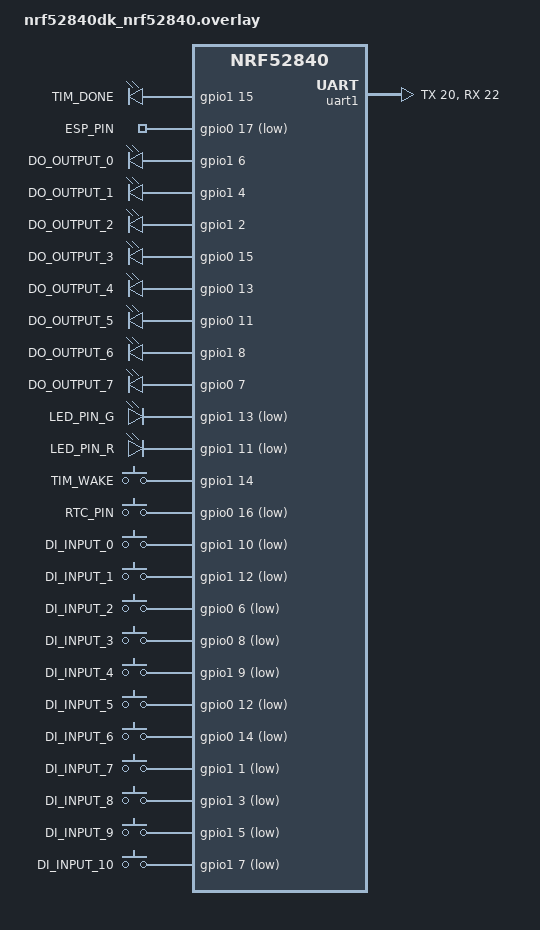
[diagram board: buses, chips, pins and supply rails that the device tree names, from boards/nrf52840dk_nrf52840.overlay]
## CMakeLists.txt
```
#
# Copyright (c) 2018 Nordic Semiconductor
#
# SPDX-License-Identifier: LicenseRef-Nordic-5-Clause
#
cmake_minimum_required(VERSION 3.13.1)

find_package(Zephyr REQUIRED HINTS $ENV{ZEPHYR_BASE})

project(recloser)

FILE(GLOB app_sources src/*.c)
target_sources(app PRIVATE ${app_sources})

zephyr_library_include_directories(${CMAKE_CURRENT_SOURCE_DIR})
```

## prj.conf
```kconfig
##########################################
# Enable the UART driver
CONFIG_UART_ASYNC_API=y
CONFIG_UART_1_ASYNC=y
CONFIG_UART_1_INTERRUPT_DRIVEN=n
CONFIG_UART_1_NRF_HW_ASYNC=y
CONFIG_UART_1_NRF_HW_ASYNC_TIMER=2
CONFIG_NRFX_TIMER2=y
CONFIG_CONSOLE=n

# Lib supports
CONFIG_NEWLIB_LIBC=y
CONFIG_CPLUSPLUS=y
CONFIG_LIB_CPLUSPLUS=y

# GPIO config
CONFIG_GPIO=y
CONFIG_NFCT_PINS_AS_GPIOS=y

# WDT
CONFIG_WATCHDOG=y
CONFIG_WDT_DISABLE_AT_BOOT=n
CONFIG_TASK_WDT=y
CONFIG_TASK_WDT_MIN_TIMEOUT=2000

# Enable the BLE stack with GATT Client configuration
CONFIG_BT=y
#CONFIG_BT_DEBUG_LOG=y
#CONFIG_BT_LOG_LEVEL_DBG=y
CONFIG_HEAP_MEM_POOL_SIZE=2048
CONFIG_BT_SETTINGS=y
CONFIG_FLASH=y
CONFIG_FLASH_PAGE_LAYOUT=y
CONFIG_FLASH_MAP=y
CONFIG_SETTINGS=y

CONFIG_SETTINGS_NONE=y
CONFIG_BT_GATT_CACHING=n
CONFIG_BT_GATT_CLIENT=y

# Config logger
CONFIG_LOG=y
CONFIG_USE_SEGGER_RTT=y
CONFIG_LOG_BACKEND_RTT=y
CONFIG_LOG_BACKEND_UART=n
CONFIG_ASSERT=n

#PERIPHERAL
CONFIG_BT_USER_PHY_UPDATE=y
CONFIG_BT_CTLR_TX_PWR_PLUS_8=y
CONFIG_BT_CREATE_CONN_TIMEOUT=3
CONFIG_BT_ATT_PREPARE_COUNT=18
CONFIG_BT_MAX_CONN=18
CONFIG_BT_CTLR_ADV_DATA_LEN_MAX=247
CONFIG_BT_CTLR_ADVANCED_FEATURES=y
CONFIG_BT_CTLR_TX_PWR_DYNAMIC_CONTROL=n
CONFIG_BT_CTLR_CONN_RSSI=y
CONFIG_BT_LL_SW_SPLIT=y
CONFIG_BT_CTLR=y
CONFIG_BT_HCI=y
CONFIG_BT_PERIPHERAL=y
CONFIG_BT_DEVICE_NAME="RECLOSER"
CONFIG_BT_GATT_NOTIFY_MULTIPLE=y
CONFIG_BT_GAP_PERIPHERAL_PREF_PARAMS=n
CONFIG_BT_L2CAP_TX_MTU=259
CONFIG_BT_BUF_ACL_RX_SIZE=259
CONFIG_MAIN_STACK_SIZE=8192

#CLOCK_CONTROL
CONFIG_CLOCK_CONTROL=y
CONFIG_CLOCK_CONTROL_NRF_K32SRC_RC=y
CONFIG_CLOCK_CONTROL_NRF_K32SRC_XTAL=n

#CONFIG_BT_CTLR_XTAL_ADVANCED=y
CONFIG_NRFX_TIMER=y
CONFIG_NRFX_TIMER3=y
CONFIG_NRFX_TIMER4=y
CONFIG_NRFX_SAADC=y
CONFIG_BOARD_ENABLE_DCDC=n
CONFIG_NRFX_PPI=y

### Enable SMP server ###
# FOR NCS auto make image
CONFIG_BT_SMP=y
CONFIG_MCUMGR_SMP_BT=y
CONFIG_MCUMGR_SMP_BT_AUTHEN=n
CONFIG_MCUMGR_CMD_IMG_MGMT=y
CONFIG_MCUMGR_CMD_OS_MGMT=y
CONFIG_MCUMGR=y
CONFIG_SYSTEM_WORKQUEUE_STACK_SIZE=8192
CONFIG_BOOTLOADER_MCUBOOT=y
CONFIG_MCUBOOT_IMAGE_VERSION="1.5.2"

#Useless
#CONFIG_MCUMGR_CMD_FS_MGMT=y
#CONFIG_MCUBOOT_UTIL_LOG_LEVEL_WRN=y
#CONFIG_FILE_SYSTEM=y
```

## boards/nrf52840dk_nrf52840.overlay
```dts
/ {
	leds {
		compatible = "gpio-leds";
		led0: led_0 {
			gpios = <&gpio1 15 GPIO_ACTIVE_HIGH>;
			label = "TIM_DONE";
		};
		led1: led_1 {
			gpios = <&gpio0 17 (GPIO_ACTIVE_LOW | GPIO_PULL_UP | GPIO_OPEN_DRAIN)>;
			label = "ESP_PIN";
		};
		led2: led_2 {
			gpios = <&gpio1 6 GPIO_ACTIVE_HIGH>;
			label = "DO_OUTPUT_0";
		};
		led3: led_3 {
			gpios = <&gpio1 4 GPIO_ACTIVE_HIGH>;
			label = "DO_OUTPUT_1";
		};
		led4: led_4 {
			gpios = <&gpio1 2 GPIO_ACTIVE_HIGH>;
			label = "DO_OUTPUT_2";
		};
		led5: led_5 {
			gpios = <&gpio0 15 GPIO_ACTIVE_HIGH>;
			label = "DO_OUTPUT_3";
		};
		led6: led_6 {
			gpios = <&gpio0 13 GPIO_ACTIVE_HIGH>;
			label = "DO_OUTPUT_4";
		};
		led7: led_7 {
			gpios = <&gpio0 11 GPIO_ACTIVE_HIGH>;
			label = "DO_OUTPUT_5";
		};
		led8: led_8 {
			gpios = <&gpio1 8 GPIO_ACTIVE_HIGH>;
			label = "DO_OUTPUT_6";
		};
		led9: led_9 {
			gpios = <&gpio0 7 GPIO_ACTIVE_HIGH>;
			label = "DO_OUTPUT_7";
		};
		led10: led_10 {
			gpios = <&gpio1 13 GPIO_ACTIVE_LOW>;
			label = "LED_PIN_G";
		};
		led11: led_11 {
			gpios = <&gpio1 11 GPIO_ACTIVE_LOW>;
			label = "LED_PIN_R";
		};
        };

	buttons {
		compatible = "gpio-keys";
		button0: button_0 {
			gpios = <&gpio1 14 (GPIO_PULL_DOWN | GPIO_ACTIVE_HIGH)>;
			label = "TIM_WAKE";
		};
		button1: button_1 {
			gpios = <&gpio0 16 (GPIO_PULL_UP | GPIO_ACTIVE_LOW)>;
			label = "RTC_PIN";
		};
		button2: button_2 {
			gpios = <&gpio1 10 (GPIO_PULL_UP | GPIO_ACTIVE_LOW)>;
			label = "DI_INPUT_0";
		};
		button3: button_3 {
			gpios = <&gpio1 12 (GPIO_PULL_UP | GPIO_ACTIVE_LOW)>;
			label = "DI_INPUT_1";
		};
		button4: button_4 {
			gpios = <&gpio0 6 (GPIO_PULL_UP | GPIO_ACTIVE_LOW)>;
			label = "DI_INPUT_2";
		};
		button5: button_5 {
			gpios = <&gpio0 8 (GPIO_PULL_UP | GPIO_ACTIVE_LOW)>;
			label = "DI_INPUT_3";
		};
		button6: button_6 {
			gpios = <&gpio1 9 (GPIO_PULL_UP | GPIO_ACTIVE_LOW)>;
			label = "DI_INPUT_4";
		};
		button7: button_7 {
			gpios = <&gpio0 12 (GPIO_PULL_UP | GPIO_ACTIVE_LOW)>;
			label = "DI_INPUT_5";
		};
		button8: button_8 {
			gpios = <&gpio0 14 (GPIO_PULL_UP | GPIO_ACTIVE_LOW)>;
			label = "DI_INPUT_6";
		};
		button9: button_9 {
			gpios = <&gpio1 1 (GPIO_PULL_UP | GPIO_ACTIVE_LOW)>;
			label = "DI_INPUT_7";
		};
		button10: button_10 {
			gpios = <&gpio1 3 (GPIO_PULL_UP | GPIO_ACTIVE_LOW)>;
			label = "DI_INPUT_8";
		};
		button11: button_11 {
			gpios = <&gpio1 5 (GPIO_PULL_UP | GPIO_ACTIVE_LOW)>;
			label = "DI_INPUT_9";
		};
		button12: button_12 {
			gpios = <&gpio1 7 (GPIO_PULL_UP | GPIO_ACTIVE_LOW)>;
			label = "DI_INPUT_10";
		};
	};

	/* These aliases are provided for compatibility with samples */
	aliases {
		led0 = &led0;
		led1 = &led1;
		led2 = &led2;
		led3 = &led3;
		led4 = &led4;
		led5 = &led5;
		led6 = &led6;
		led7 = &led7;
		led8 = &led8;
		led9 = &led9;
		led10 = &led10;
		led11 = &led11;

		sw0 = &button0;
		sw1 = &button1;
		sw2 = &button2;
		sw3 = &button3;
		sw4 = &button4;
		sw5 = &button5;
		sw6 = &button6;
		sw7 = &button7;
		sw8 = &button8;
		sw9 = &button9;
		sw10 = &button10;
		sw11 = &button11;
		sw12 = &button12;
	};
};

&uart1 {
	rx-pin = <22>;
	tx-pin = <20>;
	status = "okay";
	/delete-property/ rts-pin;
	/delete-property/ cts-pin;
};

&uart0 {
	status = "disabled";
};

&i2c0 {
	status = "disabled";
};

&i2c1 {
	status = "disabled";
};

&spi0 {
	status = "disabled";
};

&spi1 {
	status = "disabled";
};

&spi2 {
	status = "disabled";
};

&qspi {
	status = "disabled";
};

&spi3 {
	status = "disabled";
};

&usbd {
	compatible = "nordic,nrf-usbd";
	status = "disabled";
};
```

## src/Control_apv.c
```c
/*
 * Copyright (c) 2016 Open-RnD Sp. z o.o.
 * Copyright (c) 2020 Nordic Semiconductor ASA
 *
 * SPDX-License-Identifier: Apache-2.0
 */

#include "control_apv.h"
#include "registers_modbus.h"
#include "DEFINES.h"
#include "calculations.h"

#include <logging/log.h>
#include <zephyr.h>

LOG_MODULE_REGISTER(control_apv);

static int16_t *modbus_reg_04;
static int16_t *modbus_reg_03;

uint8_t apv_current_number;
uint8_t apv_cycle_done;
uint8_t apv_cycle_current;
uint8_t apv_enabled[4];
uint8_t apv_global_ready_done;
uint8_t ready_done;
uint8_t emergency_disable;
static uint8_t *main_window_updater;
uint8_t apv_zmn_start;


void reset_apv_seq()
{      LOG_INF_GLOB("reset_apv_seq");
    if(readBit(modbus_reg_03[mod_reg_03_system_mode], radio_on_apv1)) apv_enabled[1] = 1;
    else apv_enabled[1] = 0;
    if(readBit(modbus_reg_03[mod_reg_03_system_mode], radio_on_apv2)) apv_enabled[2] = 1;
    else apv_enabled[2] = 0;
    if(readBit(modbus_reg_03[mod_reg_03_system_mode], radio_on_apv3)) apv_enabled[3] = 1;
    else apv_enabled[3] = 0;
    modbus_reg_04[mod_reg_04_apv_cycle] = 0;
    *main_window_updater = 2;
}

static void part_init()
{
    LOG_INF_GLOB("part_init");
    stop_timers_apv();
    apv_current_number = 0;
    apv_cycle_done = 0;
    apv_global_ready_done = 0;
    apv_cycle_current = 0;
    ready_done = 0;
    emergency_disable = 0;
    apv_enabled[0] = 1;
    modbus_reg_04[mod_reg_04_apv_ready] = 0;
    apv_zmn_start = 0;
}

void emergency_disable_apv()
{
    if(!emergency_disable) 
    {  LOG_INF_GLOB("emergency_disable_apv()");
        stop_timers_apv();
        if(modbus_reg_04[mod_reg_04_apv_cycle] == 0) part_init();
        emergency_disable = 1;
    }
}

void apv_end_for_ready()
{
    switch(apv_current_number)
    {
        case 255:
            LOG_INF_GLOB("APV_time_ready end");
            apv_global_ready_done = 1;
            writebit(modbus_reg_04[mod_reg_04_apv_ready], radio_ready_apv, 1);
            *main_window_updater = 2;
            ready_done = 255;
        break;
        case 1:
        case 2:
        case 3:
            LOG_INF_GLOB("APV_time_ready end %d", apv_current_number);
            ready_done = 1;
            apv_cycle_current = 0;
            apv_enabled[0] = 0x81;
            reset_apv_seq();
        break;
    }
}

K_TIMER_DEFINE(k_timer_apv_start_for_ready, apv_end_for_ready, NULL);

uint8_t apv_ready()
{
    return ready_done;
}

uint8_t apv_cycle()
{
    return apv_cycle_done;
}

uint8_t apv_init_ready()
{
    return apv_global_ready_done;
}

uint8_t apv_cycle_current_global()
{
    return apv_cycle_current;
}

void apv_end_for_cycle()
{
    LOG_INF_GLOB("k_timer_apv_start_for_cycle %d", apv_current_number);
    apv_cycle_done = apv_current_number;
    apv_current_number = 0;
}

K_TIMER_DEFINE(k_timer_apv_start_for_cycle, apv_end_for_cycle, NULL);

uint8_t apv_exist_cycle_search(uint8_t cur_cyc)
{
    switch(cur_cyc)
    {
        case 0:
            if(readBit(modbus_reg_03[mod_reg_03_system_mode], radio_on_apv1)) return 1;
        case 1:
            if(readBit(modbus_reg_03[mod_reg_03_system_mode], radio_on_apv2)) return 2;
        case 2:
            if(readBit(modbus_reg_03[mod_reg_03_system_mode], radio_on_apv3)) return 3;
            else return 4;
        break;
        default:
            return 4;
        break;
    }
}

uint8_t apv_start_for_cycle()
{
    k_timer_stop(&k_timer_apv_start_for_ready);
    for(uint8_t i = 0; i < 3; i++)
    {
        if(apv_enabled[i] > 0x80) 
        {
            apv_enabled[i] = 0; 
            apv_cycle_current = apv_exist_cycle_search(i);
            if(apv_cycle_current == 4) 
            {
                LOG_INF_GLOB("no exist %d ", i);
                apv_global_ready_done = 0;
                return 1;
            }
            apv_current_number = apv_cycle_current;
            modbus_reg_04[mod_reg_04_apv_cycle] = apv_current_number;
            k_timer_start(&k_timer_apv_start_for_cycle, 
                          K_SECONDS(modbus_reg_04[mod_reg_04_APV_time_ready + apv_cycle_current]), 
                          K_NO_WAIT);
            LOG_INF_GLOB("APV_time_cycle start %d", apv_cycle_current);
            return 0;
        }
    }
    return 1;
}

void apv_zmn_reset()
{
    apv_zmn_start = 0;
}

uint8_t apv_zmn_start_event()
{
    return apv_zmn_start;
}

void apv_zmn_back()
{
    LOG_INF_GLOB("apv_zmn_back()");
    writebit(modbus_reg_04[mod_reg_04_apv_ready], radio_apv_zmn_active, 0);
    apv_zmn_start = 1;
}

K_TIMER_DEFINE(k_timer_apv_zmn_await, apv_zmn_back, NULL);

void apv_zmn_await_stop()
{
    if(k_timer_remaining_ticks(&k_timer_apv_zmn_await) != 0) 
    {
        k_timer_stop(&k_timer_apv_zmn_await);
        LOG_INF_GLOB("apv_zmn_await_stop()");
    }
}

void apv_zmn_await()
{
    if(k_timer_remaining_ticks(&k_timer_apv_zmn_await) == 0 && readBit(modbus_reg_04[mod_reg_04_apv_ready], radio_apv_zmn_active)) 
    {
        LOG_INF_GLOB("apv_zmn_await()");
        k_timer_start(&k_timer_apv_zmn_await, K_SECONDS(modbus_reg_04[mod_reg_04_APV_ZMN_time_back]), K_NO_WAIT);
    }
}

void apv_zmn_end_for_ready()
{
    LOG_INF_GLOB("APV_ZMN_ ready");
    writebit(modbus_reg_04[mod_reg_04_apv_ready], radio_ready_apv_zmn, 1);
    *main_window_updater = 2;
}

uint8_t apv_zmn_init_ready()
{
    return readBit(modbus_reg_04[mod_reg_04_apv_ready], radio_ready_apv_zmn);
}

K_TIMER_DEFINE(k_timer_apv_zmn_start_for_ready, apv_zmn_end_for_ready, NULL);

void stop_timers_apv()
{
    k_timer_stop(&k_timer_apv_start_for_ready);
    k_timer_stop(&k_timer_apv_start_for_cycle);
    k_timer_stop(&k_timer_apv_zmn_start_for_ready);
    k_timer_stop(&k_timer_apv_zmn_await);
}

void apv_init(int16_t *_modbus_reg_03, int16_t *_modbus_reg_04, uint8_t *_main_window_updater)
{
        LOG_INF_GLOB("apv_init");
        main_window_updater = _main_window_updater;
        modbus_reg_03 = _modbus_reg_03;
        modbus_reg_04 = _modbus_reg_04;
        part_init();
}

void apv_start_for_ready()
{
    if(((modbus_reg_03[mod_reg_03_system_mode] >> radio_on_apv1) & 7) != 0)
    {
        if(apv_current_number == 0)
        {
            emergency_disable = 0;
            apv_cycle_done = 0;
            if(apv_enabled[0] != 0 && apv_enabled[0] < 0x81) 
            {
                reset_apv_seq();
                apv_enabled[0] = apv_enabled[0] | 0x80;
                apv_current_number = 255;
                k_timer_start(&k_timer_apv_start_for_ready, K_SECONDS(modbus_reg_04[mod_reg_04_APV_time_ready]), K_NO_WAIT);
                LOG_INF_GLOB("APV_time_ready start");
            }
            else
                for(uint8_t i = 1; i < 4; i++)
                if(apv_enabled[i] != 0 && apv_enabled[i] < 0x81) 
                {
                    apv_enabled[i] = apv_enabled[i] | 0x80;
                    apv_current_number = i;
                    k_timer_start(&k_timer_apv_start_for_ready, K_SECONDS(modbus_reg_04[mod_reg_04_APV_time_ready]), K_NO_WAIT);
                    LOG_INF_GLOB("APV_time_ready start %d", i);
                    return;
                }
        }
    }
    if(readBit(modbus_reg_03[mod_reg_03_system_mode], radio_apv_zmn) &&
       k_timer_remaining_ticks(&k_timer_apv_zmn_start_for_ready) == 0)
    {
        LOG_INF_GLOB("APV_ZMN_time_ready start");
        k_timer_start(&k_timer_apv_zmn_start_for_ready, K_SECONDS(modbus_reg_04[mod_reg_04_APV_ZMN_time_ready]), K_NO_WAIT);
    }
}
```

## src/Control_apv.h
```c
#ifndef APV_LOGIC_H__
#define APV_LOGIC_H__

#include <stdint.h>
#include <inttypes.h>


void apv_init(int16_t *_modbus_reg_03, int16_t *_modbus_reg_04, uint8_t *_main_window_updater);
void apv_start_for_ready();
uint8_t apv_ready();
uint8_t apv_start_for_cycle();
uint8_t apv_cycle();
void stop_timers_apv();
void emergency_disable_apv();
uint8_t apv_init_ready();
uint8_t apv_cycle_current_global();

void apv_zmn_await();
void apv_zmn_await_stop();
uint8_t apv_zmn_start_event();
void apv_zmn_reset();
uint8_t apv_zmn_init_ready();

#endif
```

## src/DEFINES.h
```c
#ifndef DEFINES_H__
#define DEFINES_H__
/*NRF FW version*/

/*RTC PIN*/
#define RTC_PIN                         16

/*ESP8266 RESET PIN*/
#define ESP_PIN                         17

/*TPL5010 PINS*/
#define TIM_WAKE                        46
#define TIM_DONE                        47

#define switch_di_tic                   50

/**/

#define byte_num                                  LEN * ADC_CHANNELS_TO_SEND + 2 * ADC_CHANNELS_TO_SEND + 2
#define max_32_bit_val                            0x7fffffff
//#define us_ticker                                 1003
#define timer2_ms                                 1000 //TIMER_2 ms
#define ms_to_tic(time, period)                   (time * 1000 / period)
#define ESP_PACK_INTERVEL_ms                      150
//#define MANUAL_ADC

//#define tag_irq_high_time       ms_to_tic(200,  timer2_ms)
//#define tag_irq_low_time        ms_to_tic(2000, timer2_ms)
//#define timers_control_time     ms_to_tic(1000, timer2_ms)

//#define di_asq_period           ms_to_tic(100,  timer2_ms) 
#define max_zero_val_counter    100        // êîëè÷åñòâî òî÷åê äëÿ âû÷èñëåíèÿ íóëÿ èçìåðåíèÿ
#define zero_cutt_off_val       400         // îòñå÷êà íóëÿ


    #define mod_reg_03_default_cal_100_adc_cur_phase       5700//2561
    #define mod_reg_03_default_cal_100_adc_cur_3I0         5700//9962
    #define mod_reg_03_default_cal_100_adc_volt            5700//1675


    #define mod_reg_03_default_cal_0_adc_cur_phase         8192//7970
    #define mod_reg_03_default_cal_0_adc_cur_3I0           8192//9296
    #define mod_reg_03_default_cal_0_adc_volt              8192//7945

    #define mod_reg_03_default_cal_cur_phase_scale         2000              // 20  ÀÌÏÅÐ
    #define mod_reg_03_default_cal_cur_3I0_scale           500               // 5  ÀÌÏÅÐ
    #define mod_reg_03_default_cal_voltage_scale           3000              // 300 ÂÎËÜÒ
    #define mod_reg_03_default_cal_voltage_x_scale         3000              // 300 ÂÎËÜÒ

    #define mod_reg_03_default_cal_cur_scale_coef             50              
    #define mod_reg_03_default_cal_cur_3I0_scale_coef         20               
    #define mod_reg_03_default_cal_voltage_scale_coef         30             
    #define mod_reg_03_default_cal_voltage_x_scale_coef       30            

    #define mod_reg_03_MTZ_1_current_trip_default          140              
    #define mod_reg_03_MTZ_2_current_trip_default          140              
    #define mod_reg_03_MTZ_3_current_trip_default          360            
    #define mod_reg_03_TO_current_trip_default             400             
    #define mod_reg_03_ZMN_voltage_trip_default            4500             
    #define mod_reg_03_ZZ_current_trip_default             50             

    #define mod_reg_03_MTZ_1_current_back_default          1350             
    #define mod_reg_03_MTZ_2_current_back_default          1350              
    #define mod_reg_03_MTZ_3_current_back_default          3550             
    #define mod_reg_03_TO_current_back_default             3950               
    #define mod_reg_03_ZMN_voltage_back_default            4600              
    #define mod_reg_03_ZZ_current_back_default             45     
    
    #define mod_reg_03_APV_time_ready_default              5
    #define mod_reg_03_APV1_time_cycle_default             2    
    #define mod_reg_03_APV2_time_cycle_default             10    
    #define mod_reg_03_APV3_time_cycle_default             20   
    #define mod_reg_03_APV_ZMN_time_ready_default          10       
    #define mod_reg_03_APV_ZMN_time_back_default           15       

    #define mod_reg_03_MTZ_1_time_trip_default             10 // 10 ñ
    #define mod_reg_03_MTZ_2_time_trip_default             10 // 10 ñ
    #define mod_reg_03_MTZ_3_time_trip_default             ms_to_tic(1000,  timer2_ms) // 300 ìñ
    #define mod_reg_03_TO_time_trip_default                ms_to_tic(1000,  timer2_ms) // 500 ìñ
    #define mod_reg_03_ZMN_time_trip_default               ms_to_tic(1000,  timer2_ms) // 300 ìñ
    #define mod_reg_03_ZZ_time_trip_default                10 // 10 ñ

    #define mod_reg_03_MTZ_1_time_back_default             2 // 2 ñ
    #define mod_reg_03_MTZ_2_time_back_default             2 // 2 ñ
    #define mod_reg_03_MTZ_3_time_back_default             ms_to_tic(1000,  timer2_ms) // 500 ìñ
    #define mod_reg_03_TO_time_back_default                ms_to_tic(1000,  timer2_ms) // 500 ìñ
    #define mod_reg_03_ZMN_time_back_default               ms_to_tic(1000,  timer2_ms) // 500 ìñ
    #define mod_reg_03_ZZ_time_back_default                2 // 2 ñ

    #define mod_reg_03_trip_action_default                 0

    #define mod_reg_03_reserv                              0 //((1 << 12) + (4 << 8) + (2 << 4) + 3)
    #define mod_reg_03_switch_toggle_time_default          300
    #define mod_reg_03_switch_strategy_default             2

    #define mod_reg_03_voltage_trans_strategy_default      0x87

    /*protection events*/

    #define protection_MTZ_1                                   0
    #define protection_MTZ_2                                   1 
    #define protection_MTZ_3                                   2
    #define protection_TO                                      3
    #define protection_ZMN                                     4
    #define protection_ZZ                                      5

    #define protection_alarm                                   0
    #define protection_back_value                              1
    #define protection_back_timer                              2
    #define protection_trip                                    3


/*DI/DO defines*/

#define     DO_COIL_START           1
#define     DO_COIL_STOP            2
#define     DO_LOAD220_1            3
#define     DO_LOAD220_2            4
#define     DO_MOTOR                5
#define     DO_LAMP_OFF             6
#define     DO_LAMP_ON_ALARM        7
#define     DO_BATTERY              8
#define     DO_LED_1                9
#define     DO_LED_2                10

#define     DI_SAC                  1
#define     DI_SQ1                  2
#define     DI_GENERAL_OFF          3
#define     DI_GENERAL_ON           4
#define     DI_SQY                  5
#define     DI_SBT                  6
#define     DI_SBO                  7
#define     DI_SBR                  8
#define     DI_BATERY               9
#define     DI_START_COIL_HEALTH    10
#define     DI_STOP_COIL_HEALTH     11

#endif

#define LOG_INF_GLOB(...) NULL//LOG_INF(__VA_ARGS__)
#define LOG_WRN_GLOB(...) NULL//LOG_WRN(__VA_ARGS__)
#define LOG_ERR_GLOB(...) NULL//LOG_ERR(__VA_ARGS__)

#define IntToBytes(x)     x >> 8, x & 255
#define BytesToInt(x, y)  (x[y] << 8) + x[y + 1]
```

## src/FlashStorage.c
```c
#include "FlashStorage.h"
#include "registers_modbus.h"
#include "DEFINES.h"
#include "saadc_work.h"

#include <drivers/flash.h>
#include <logging/log.h>

LOG_MODULE_REGISTER(FlashStorage);

#define BYTE_NUM_WRITE     mod_reg_03_num * 2
#define BYTE4_NUM_WRITE    mod_reg_03_num / 2

static const struct device *flash_device;
static int16_t *modbus_reg_03;

void FlashStorageWrite(int16_t *reg_03)
{
    int ret;

    ret = flash_erase(flash_device, start_address_flash, count_bytes_flash);
    if (ret) LOG_INF_GLOB("flash_erase failed (err:%d).\n", ret);
    else LOG_INF_GLOB("%d flash_erase ok (err:%d).\n", start_address_flash, ret);
	
    uint16_t len = BYTE_NUM_WRITE;

    static uint8_t bytes_to_flash[BYTE_NUM_WRITE] = {0};
    if(*(reg_03 + mod_reg_03_crc) != 12345) *(reg_03 + mod_reg_03_crc) = 32100;

    for(uint16_t i = 0; i < mod_reg_03_num; i++)
    {
        bytes_to_flash[i * 2]     = *(reg_03 + i) & 255;
        bytes_to_flash[i * 2 + 1] = *(reg_03 + i) >>  8;
    }
        
    ret = flash_write(flash_device, start_address_flash, bytes_to_flash, len);
    if (ret) LOG_INF_GLOB("flash_write failed (err:%d).\n", ret);
}


void default_registers_set(int16_t *reg_03)
{
        if(*(reg_03 + mod_reg_03_crc) != 32100)
        {
            *(reg_03 + mod_reg_03_cal_adc_100_chan_0) = mod_reg_03_default_cal_100_adc_cur_phase;
            *(reg_03 + mod_reg_03_cal_adc_100_chan_1) = mod_reg_03_default_cal_100_adc_cur_phase;
            *(reg_03 + mod_reg_03_cal_adc_100_chan_2) = mod_reg_03_default_cal_100_adc_cur_phase;
            *(reg_03 + mod_reg_03_cal_adc_100_chan_3) = mod_reg_03_default_cal_100_adc_cur_3I0;
            *(reg_03 + mod_reg_03_cal_adc_100_chan_4) = mod_reg_03_default_cal_100_adc_volt;
            *(reg_03 + mod_reg_03_cal_adc_100_chan_5) = mod_reg_03_default_cal_100_adc_volt;
            *(reg_03 + mod_reg_03_cal_adc_100_chan_6) = mod_reg_03_default_cal_100_adc_volt;
            *(reg_03 + mod_reg_03_cal_adc_100_chan_7) = mod_reg_03_default_cal_100_adc_volt;

            *(reg_03 + mod_reg_03_cal_adc_0_chan_0) = mod_reg_03_default_cal_0_adc_cur_phase;
            *(reg_03 + mod_reg_03_cal_adc_0_chan_1) = mod_reg_03_default_cal_0_adc_cur_phase;
            *(reg_03 + mod_reg_03_cal_adc_0_chan_2) = mod_reg_03_default_cal_0_adc_cur_phase;
            *(reg_03 + mod_reg_03_cal_adc_0_chan_3) = mod_reg_03_default_cal_0_adc_cur_3I0;
            *(reg_03 + mod_reg_03_cal_adc_0_chan_4) = mod_reg_03_default_cal_0_adc_volt;
            *(reg_03 + mod_reg_03_cal_adc_0_chan_5) = mod_reg_03_default_cal_0_adc_volt;
            *(reg_03 + mod_reg_03_cal_adc_0_chan_6) = mod_reg_03_default_cal_0_adc_volt;
            *(reg_03 + mod_reg_03_cal_adc_0_chan_7) = mod_reg_03_default_cal_0_adc_volt;

            *(reg_03 + mod_reg_03_calibr_command)       = 0;
            *(reg_03 + mod_reg_03_calibration_done)     = 0;

            *(reg_03 + mod_reg_03_cal_scale_100_chan_0) = mod_reg_03_default_cal_cur_phase_scale;
            *(reg_03 + mod_reg_03_cal_scale_100_chan_1) = mod_reg_03_default_cal_cur_phase_scale;
            *(reg_03 + mod_reg_03_cal_scale_100_chan_2) = mod_reg_03_default_cal_cur_phase_scale;
            *(reg_03 + mod_reg_03_cal_scale_100_chan_3) = mod_reg_03_default_cal_cur_3I0_scale;
            *(reg_03 + mod_reg_03_cal_scale_100_chan_4) = mod_reg_03_default_cal_voltage_scale;
            *(reg_03 + mod_reg_03_cal_scale_100_chan_5) = mod_reg_03_default_cal_voltage_scale;
            *(reg_03 + mod_reg_03_cal_scale_100_chan_6) = mod_reg_03_default_cal_voltage_scale;
            *(reg_03 + mod_reg_03_cal_scale_100_chan_7) = mod_reg_03_default_cal_voltage_x_scale;

            *(reg_03 + mod_reg_03_cal_scale_coef_0) = mod_reg_03_default_cal_cur_scale_coef;
            *(reg_03 + mod_reg_03_cal_scale_coef_1) = mod_reg_03_default_cal_cur_scale_coef;
            *(reg_03 + mod_reg_03_cal_scale_coef_2) = mod_reg_03_default_cal_cur_scale_coef;
            *(reg_03 + mod_reg_03_cal_scale_coef_3) = mod_reg_03_default_cal_cur_3I0_scale_coef;
            *(reg_03 + mod_reg_03_cal_scale_coef_4) = mod_reg_03_default_cal_voltage_scale_coef;
            *(reg_03 + mod_reg_03_cal_scale_coef_5) = mod_reg_03_default_cal_voltage_scale_coef;
            *(reg_03 + mod_reg_03_cal_scale_coef_6) = mod_reg_03_default_cal_voltage_scale_coef;
            *(reg_03 + mod_reg_03_cal_scale_coef_7) = mod_reg_03_default_cal_voltage_x_scale_coef;

            /*Ãðóïïà À*/
            *(reg_03 + mod_reg_03_A_MTZ_1_current_trip) = mod_reg_03_MTZ_1_current_trip_default;
            *(reg_03 + mod_reg_03_A_MTZ_2_current_trip) = mod_reg_03_MTZ_2_current_trip_default;
            *(reg_03 + mod_reg_03_A_MTZ_3_current_trip) = mod_reg_03_MTZ_3_current_trip_default;
            *(reg_03 + mod_reg_03_A_TO_current_trip)    = mod_reg_03_TO_current_trip_default;
            *(reg_03 + mod_reg_03_A_ZMN_voltage_trip)   = mod_reg_03_ZMN_voltage_trip_default;
            *(reg_03 + mod_reg_03_A_ZZ_current_trip)    = mod_reg_03_ZZ_current_trip_default;

            *(reg_03 + mod_reg_03_A_MTZ_1_current_back) = mod_reg_03_MTZ_1_current_back_default;
            *(reg_03 + mod_reg_03_A_MTZ_2_current_back) = mod_reg_03_MTZ_2_current_back_default;
            *(reg_03 + mod_reg_03_A_MTZ_3_current_back) = mod_reg_03_MTZ_3_current_back_default;
            *(reg_03 + mod_reg_03_A_TO_current_back)    = mod_reg_03_TO_current_back_default;
            *(reg_03 + mod_reg_03_A_ZMN_voltage_back)   = mod_reg_03_ZMN_voltage_back_default;
            *(reg_03 + mod_reg_03_A_ZZ_current_back)    = mod_reg_03_ZZ_current_back_default;

            *(reg_03 + mod_reg_03_A_MTZ_1_time_trip)    = mod_reg_03_MTZ_1_time_trip_default;
            *(reg_03 + mod_reg_03_A_MTZ_2_time_trip)    = mod_reg_03_MTZ_2_time_trip_default;
            *(reg_03 + mod_reg_03_A_MTZ_3_time_trip)    = mod_reg_03_MTZ_3_time_trip_default;
            *(reg_03 + mod_reg_03_A_TO_time_trip)       = mod_reg_03_TO_time_trip_default;
            *(reg_03 + mod_reg_03_A_ZMN_time_trip)      = mod_reg_03_ZMN_time_trip_default;
            *(reg_03 + mod_reg_03_A_ZZ_time_trip)       = mod_reg_03_ZZ_time_trip_default;

            *(reg_03 + mod_reg_03_A_MTZ_1_time_back)    = mod_reg_03_MTZ_1_time_back_default;
            *(reg_03 + mod_reg_03_A_MTZ_2_time_back)    = mod_reg_03_MTZ_2_time_back_default;
            *(reg_03 + mod_reg_03_A_MTZ_3_time_back)    = mod_reg_03_MTZ_3_time_back_default;
            *(reg_03 + mod_reg_03_A_TO_time_back)       = mod_reg_03_TO_time_back_default;
            *(reg_03 + mod_reg_03_A_ZMN_time_back)      = mod_reg_03_ZMN_time_back_default;
            *(reg_03 + mod_reg_03_A_ZZ_time_back)       = mod_reg_03_ZZ_time_back_default;
            *(reg_03 + mod_reg_03_A_trip_action)        = mod_reg_03_trip_action_default;

            *(reg_03 + mod_reg_03_A_APV_time_ready)     = mod_reg_03_APV_time_ready_default;
            *(reg_03 + mod_reg_03_A_APV1_time_cycle)    = mod_reg_03_APV1_time_cycle_default;
            *(reg_03 + mod_reg_03_A_APV2_time_cycle)    = mod_reg_03_APV2_time_cycle_default;
            *(reg_03 + mod_reg_03_A_APV3_time_cycle)    = mod_reg_03_APV3_time_cycle_default;
            *(reg_03 + mod_reg_03_A_APV_ZMN_time_ready) = mod_reg_03_APV_ZMN_time_ready_default;
            *(reg_03 + mod_reg_03_A_APV_ZMN_time_back)  = mod_reg_03_APV_ZMN_time_back_default;

            /*Ãðóïïà Á*/
            *(reg_03 + mod_reg_03_B_MTZ_1_current_trip) = mod_reg_03_MTZ_1_current_trip_default;
            *(reg_03 + mod_reg_03_B_MTZ_2_current_trip) = mod_reg_03_MTZ_2_current_trip_default;
            *(reg_03 + mod_reg_03_B_MTZ_3_current_trip) = mod_reg_03_MTZ_3_current_trip_default;
            *(reg_03 + mod_reg_03_B_TO_current_trip)    = mod_reg_03_TO_current_trip_default;
            *(reg_03 + mod_reg_03_B_ZMN_voltage_trip)   = mod_reg_03_ZMN_voltage_trip_default;
            *(reg_03 + mod_reg_03_B_ZZ_current_trip)    = mod_reg_03_ZZ_current_trip_default;

            *(reg_03 + mod_reg_03_B_MTZ_1_current_back) = mod_reg_03_MTZ_1_current_back_default;
            *(reg_03 + mod_reg_03_B_MTZ_2_current_back) = mod_reg_03_MTZ_2_current_back_default;
            *(reg_03 + mod_reg_03_B_MTZ_3_current_back) = mod_reg_03_MTZ_3_current_back_default;
            *(reg_03 + mod_reg_03_B_TO_current_back)    = mod_reg_03_TO_current_back_default;
            *(reg_03 + mod_reg_03_B_ZMN_voltage_back)   = mod_reg_03_ZMN_voltage_back_default;
            *(reg_03 + mod_reg_03_B_ZZ_current_back)    = mod_reg_03_ZZ_current_back_default;

            *(reg_03 + mod_reg_03_B_MTZ_1_time_trip)    = mod_reg_03_MTZ_1_time_trip_default;
            *(reg_03 + mod_reg_03_B_MTZ_2_time_trip)    = mod_reg_03_MTZ_2_time_trip_default;
            *(reg_03 + mod_reg_03_B_MTZ_3_time_trip)    = mod_reg_03_MTZ_3_time_trip_default;
            *(reg_03 + mod_reg_03_B_TO_time_trip)       = mod_reg_03_TO_time_trip_default;
            *(reg_03 + mod_reg_03_B_ZMN_time_trip)      = mod_reg_03_ZMN_time_trip_default;
            *(reg_03 + mod_reg_03_B_ZZ_time_trip)       = mod_reg_03_ZZ_time_trip_default;

            *(reg_03 + mod_reg_03_B_MTZ_1_time_back)    = mod_reg_03_MTZ_1_time_back_default;
            *(reg_03 + mod_reg_03_B_MTZ_2_time_back)    = mod_reg_03_MTZ_2_time_back_default;
            *(reg_03 + mod_reg_03_B_MTZ_3_time_back)    = mod_reg_03_MTZ_3_time_back_default;
            *(reg_03 + mod_reg_03_B_TO_time_back)       = mod_reg_03_TO_time_back_default;
            *(reg_03 + mod_reg_03_B_ZMN_time_back)      = mod_reg_03_ZMN_time_back_default;
            *(reg_03 + mod_reg_03_B_ZZ_time_back)       = mod_reg_03_ZZ_time_back_default;

            *(reg_03 + mod_reg_03_B_trip_action)        = mod_reg_03_trip_action_default;

            *(reg_03 + mod_reg_03_B_APV_time_ready)     = mod_reg_03_APV_time_ready_default;
            *(reg_03 + mod_reg_03_B_APV1_time_cycle)    = mod_reg_03_APV1_time_cycle_default;
            *(reg_03 + mod_reg_03_B_APV2_time_cycle)    = mod_reg_03_APV2_time_cycle_default;
            *(reg_03 + mod_reg_03_B_APV3_time_cycle)    = mod_reg_03_APV3_time_cycle_default;

            *(reg_03 + mod_reg_03_B_APV_ZMN_time_ready) = mod_reg_03_APV_ZMN_time_ready_default;
            *(reg_03 + mod_reg_03_B_APV_ZMN_time_back)  = mod_reg_03_APV_ZMN_time_back_default;

            *(reg_03 + mod_reg_03_rezerv)               = 0;
            *(reg_03 + mod_reg_03_switch_strategy)      = mod_reg_03_switch_strategy_default;
            *(reg_03 + mod_reg_03_switch_toggle_time)   = mod_reg_03_switch_toggle_time_default;

            *(reg_03 + mod_reg_03_voltage_trans_strategy)   = mod_reg_03_voltage_trans_strategy_default;

            *(reg_03 + mod_reg_03_system_mode)          = 0;

            *(reg_03 + mod_reg_03_crc) = 32100;
        }
}

void FlashStorageRead(int16_t *reg_03)
{
    modbus_reg_03 = reg_03;
    flash_device = device_get_binding(DT_CHOSEN_ZEPHYR_FLASH_CONTROLLER_LABEL);
    flash_read(flash_device, start_address_flash, reg_03, BYTE_NUM_WRITE);
    default_registers_set(reg_03);
}

static void storage_done()
{
    ppi_pause();
    FlashStorageWrite(modbus_reg_03);
    ppi_restart();
}

K_WORK_DEFINE(storage_handle_work, storage_done);

void storage_handle(struct k_timer *dummy)
{
    k_work_submit(&storage_handle_work);
}

K_TIMER_DEFINE(storage_handle_timer, storage_handle, NULL);

void storage_save(uint8_t *eeprom_write)
{
    if(*eeprom_write)
    {
        *eeprom_write = 0;
        k_timer_start(&storage_handle_timer,  K_MSEC(1000), K_NO_WAIT);
    }
}
```

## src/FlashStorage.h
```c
#ifndef FLASHSTORAGE_H__
#define FLASHSTORAGE_H__

#include <stdint.h>
#include <inttypes.h>

/*STORAGE SETTINGS*/
#ifdef CONFIG_SOC_NRF52840
#define start_address_flash             0x000F8000     //last kb of NRF52840 SoC flash
#endif
#ifdef CONFIG_SOC_NRF52833
#define start_address_flash             0x0007F000     //last kb of NRF52833 SoC flash
#endif
#define count_bytes_flash               0x1000

void FlashStorageRead(int16_t *reg_03);

void storage_save(uint8_t *eeprom_write);

#endif
```

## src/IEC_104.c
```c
/* Message type IDs */
#include "IEC_104.h"
#include "RTC_control.h"
#include "registers_modbus.h"
#include "calculations.h"
#include <logging/log.h>
#include <zephyr.h>

LOG_MODULE_REGISTER(IEC_104_log);

static int16_t *modbus_reg_04;

static int16_t *modbus_reg_03;
static uint8_t ACK_w;
static uint8_t ACK_k; 
static uint8_t ACK_w_timer;
static uint8_t IEC_ORG;

static void (*EVENT_SEND_ptr)(uint8_t , uint8_t, int16_t, uint8_t *);


uint16_t TAG_GROUP_1[2][TAG_GROUP_1_NUMBER] = 
{
  {
      mod_reg_04_current_A,
      mod_reg_04_current_B,
      mod_reg_04_current_C,
      mod_reg_04_current_3I0,
      mod_reg_04_voltage_A,
      mod_reg_04_voltage_B,
      mod_reg_04_voltage_C,
      mod_reg_04_voltage_x,
      mod_reg_04_angle_currentA_voltageA,
      mod_reg_04_angle_currentB_voltageB,
      mod_reg_04_angle_currentC_voltageC,
      mod_reg_04_current_A_primary,
      mod_reg_04_current_B_primary,
      mod_reg_04_current_C_primary,
      mod_reg_04_current_3I0_primary,
      mod_reg_04_voltage_A_primary,
      mod_reg_04_voltage_B_primary,
      mod_reg_04_voltage_C_primary,
      mod_reg_04_voltage_x_primary
  },
  {
      100,
      100,
      100,
      100,
      10,
      10,
      10,
      10,
      1,
      1,
      1,
      1,
      1,
      1,
      10,
      1000,
      1000,
      1000,
      1000
  }
};

/*IEC104 vars*/
int V_S, V_R;
uint32_t IEC_position = 0;
/**/

void IEC_init(int16_t *modbus_reg_04_, int16_t *modbus_reg_03_, void *EVENT_SEND_)
{
    modbus_reg_04 = modbus_reg_04_;
    modbus_reg_03 = modbus_reg_03_;
    EVENT_SEND_ptr = EVENT_SEND_;
}

static void EVENT_SEND(uint8_t event_type, uint8_t event_number, int16_t tag_value, uint8_t *data_transite)
{
    (*EVENT_SEND_ptr)(event_type, event_number, tag_value, data_transite);
}

void IEC_real_to_CP56(uint8_t *cp56_part)
{
    int16_t loc_msec;
    RTC_millis_get(&loc_msec);
    loc_msec += *(modbus_reg_04 + mod_reg_04_RTC_second) * 1000;
    *(cp56_part)     = loc_msec &255;
    *(cp56_part + 1) = loc_msec >> 8;
    *(cp56_part + 2) = *(modbus_reg_04 + mod_reg_04_RTC_minute) | 0x80; //real time???
    *(cp56_part + 3) = *(modbus_reg_04 + mod_reg_04_RTC_hour);  
    *(cp56_part + 4) = *(modbus_reg_04 + mod_reg_04_RTC_date) | (*(modbus_reg_04 + mod_reg_04_RTC_day) << 5);
    *(cp56_part + 5) = *(modbus_reg_04 + mod_reg_04_RTC_month);
    *(cp56_part + 6) = *(modbus_reg_04 + mod_reg_04_RTC_year) - 2000;
}

void APCI_maker_104(uint8_t *data_apci, uint8_t data_len, uint16_t V_S, uint16_t V_R)
{
    * data_apci      = 104;
    *(data_apci + 1) = data_len;
    *(data_apci + 2) = (V_S << 1);
    *(data_apci + 3) = (V_S >> 7);
    *(data_apci + 4) = (V_R << 1);
    *(data_apci + 5) = (V_R >> 7);
}

void DUI_maker(uint8_t *data_dui, uint8_t IT, uint8_t NoO, uint8_t COT, uint8_t ORG, uint16_t COA)
{
    * data_dui      = IT;
    *(data_dui + 1) = NoO;
    *(data_dui + 2) = COT;
    *(data_dui + 3) = ORG;
    *(data_dui + 4) = COA &255;
    *(data_dui + 5) = COA >> 8;
}

/*telegram*/

void M_ME_NC_1_maker(uint8_t *data, uint32_t val_adr, uint8_t *value, uint8_t QDP, uint8_t *len)
{
    *(data + *len)     =  val_adr        & 255;
    *(data + *len + 1) = (val_adr >> 8)  & 255;
    *(data + *len + 2) = (val_adr >> 16) & 255;
    *(data + *len + 3) = *value;
    *(data + *len + 4) = *(value + 1);
    *(data + *len + 5) = *(value + 2);
    *(data + *len + 6) = *(value + 3);
    *(data + *len + 7) = QDP;
    *len = *len + 8;
}

void M_ME_TF_1_maker(uint8_t *data, uint32_t val_adr, uint8_t *value, uint8_t QDP, uint8_t *len)
{
    M_ME_NC_1_maker(data, val_adr, value, QDP, len);
    IEC_real_to_CP56(data + *len);
    *len = *len + 7;
}

void M_EI_NA_1_maker(uint8_t *data, uint32_t val_adr, uint8_t *value, uint8_t QDP, uint8_t *len)
{
    *(data + *len)     = 0;
    *(data + *len + 1) = 0;
    *(data + *len + 2) = 0;
    *(data + *len + 3) = 0;
    *len = *len + 4;
}

void C_IC_NA_1_maker(uint8_t *data, uint32_t val_adr, uint8_t *value, uint8_t QDP, uint8_t *len)
{
    *(data + *len)     = 0;
    *(data + *len + 1) = 0;
    *(data + *len + 2) = 0;
    *(data + *len + 3) = val_adr;
    *len = *len + 4;
}
/***********************************/

/*IEC_104*/

void IEC_CP56_to_real(uint8_t *cp56_part)
{
    modbus_reg_04[mod_reg_04_RTC_year]   = (*(cp56_part + 6) + 2000);
    modbus_reg_04[mod_reg_04_RTC_month]  = (*(cp56_part + 5) & 0x0F);
    modbus_reg_04[mod_reg_04_RTC_date]   = (*(cp56_part + 4) & 0x1F);
    modbus_reg_04[mod_reg_04_RTC_day]    = (*(cp56_part + 4) >> 5) & 0x07; 
    modbus_reg_04[mod_reg_04_RTC_hour]   = (*(cp56_part + 3)) & 0x1F; //??
    modbus_reg_04[mod_reg_04_RTC_minute] = (*(cp56_part + 2)) & 0x3F; //??
    modbus_reg_04[mod_reg_04_RTC_second] = (*cp56_part + (*(cp56_part + 1) << 8))/1000;
    modbus_reg_04[mod_reg_04_RTC_millis] = (*cp56_part + (*(cp56_part + 1) << 8))%1000;
    EVENT_SEND(EVENT_SYSTEM_SCENARIO, mess_x05_event_TAKE_MY_TIME, 0, NULL);
}

void GROUP_1_answer()
{
    //104 len 0 0 0 0 13 1 20 0 1 0 1 0 0 1h 2h 3h 4h 0 

    uint8_t  data_out[255];
    uint8_t  data_len = 12;

    uint8_t  ASDU_type = M_ME_NC_1;
    uint8_t  NoO = TAG_GROUP_1_NUMBER;
    uint8_t  CoT = eIEC870_COT_INROGEN;
    uint8_t  ORG = IEC_ORG;
    uint16_t COA = 1;

    uint8_t  QDP = 0;

    DUI_maker(&data_out[6], ASDU_type, NoO, CoT, ORG, COA);

    for(uint8_t i = 0; i < TAG_GROUP_1_NUMBER; i++)
    {
        float f_data = (float) modbus_reg_04[TAG_GROUP_1[0][i]] / TAG_GROUP_1[1][i];
        M_ME_NC_1_maker(&data_out[0], 
                        TAG_GROUP_1[0][i], 
                        (uint8_t *) &f_data,
                        QDP, 
                        &data_len);
    }
    APCI_maker_104(&data_out[0], data_len - 2, V_S, V_R);

    EVENT_SEND(IEC_104_WINDOW_SCENARIO, data_len, 0, data_out);
    V_S++;
    ACK_k++;
    IEC_position = 200;
}

void S_format_ACK()
{
    uint8_t data_out[6];
    uint8_t data_len = 6;

    data_out[0] = 104;
    data_out[1] = 4;
    data_out[2] = 1;
    data_out[3] = 0;
    data_out[4] = (V_R << 1);
    data_out[5] = (V_R >> 7);
    EVENT_SEND(IEC_104_WINDOW_SCENARIO, data_len, 0, data_out);
    ACK_w = 0;
    ACK_w_timer = 0;
}

void IEC_104_handler()
{
    if(ACK_w >= IEC_w_param) S_format_ACK();
    if(ACK_w_timer == IEC_w_period) S_format_ACK();
    if(ACK_w > 0) ACK_w_timer++;

    switch (IEC_position)
    {
        case 1:
        {
            uint8_t  data_out[16];
            uint8_t  data_len = 12;
            uint8_t  ASDU_type = M_EI_NA_1;
            uint8_t  NoO = 1;
            uint8_t  CoT = eIEC870_COT_INIT;
            uint8_t  ORG = IEC_ORG;
            uint16_t COA = 1;
            DUI_maker(&data_out[6], ASDU_type, NoO, CoT, ORG, COA);
            M_EI_NA_1_maker(&data_out[0], 0, 0, 0, &data_len);
            APCI_maker_104(&data_out[0], data_len - 2, V_S, V_R);
            EVENT_SEND(IEC_104_WINDOW_SCENARIO, data_len, 0, data_out);
            V_S++;
            ACK_k++;
            IEC_position = 2;
        }
        break;
        case 100:
        {
            GROUP_1_answer();
        }
        break;
        case 200:
        {
            uint8_t  data_out[16];
            uint8_t  data_len = 12;
            uint8_t  ASDU_type = C_IC_NA_1;
            uint8_t  NoO = 1;
            uint8_t  CoT = eIEC870_COT_ACT_TERM;
            uint8_t  ORG = IEC_ORG;
            uint16_t COA = 1;
            DUI_maker(&data_out[6], ASDU_type, NoO, CoT, ORG, COA);
            C_IC_NA_1_maker(&data_out[0], eIEC870_COT_INROGEN, 0, 0, &data_len);
            APCI_maker_104(&data_out[0], data_len - 2, V_S, V_R);
            EVENT_SEND(IEC_104_WINDOW_SCENARIO, data_len, 0, data_out);
            V_S++;
            ACK_k++;
            IEC_position = 2;
        }
        break;

        default:
        break;
    }
}

K_WORK_DEFINE(IEC_104_handler_timer_work, IEC_104_handler);

void IEC_104_timer_handler(struct k_timer *dummy)
{
    k_work_submit(&IEC_104_handler_timer_work);
}

K_TIMER_DEFINE(IEC_104_handler_timer, IEC_104_timer_handler, NULL);

void wrong_data_in(uint8_t *data_in, uint8_t COT_err, uint8_t *TI)
{
    *TI = 0;
    *(data_in + 8) = COT_err | 64;
    *(data_in + 2) = (V_S << 1);
    *(data_in + 3) = (V_S >> 7);
    *(data_in + 4) = (V_R << 1);
    *(data_in + 5) = (V_R >> 7);
    uint8_t data_len = *(data_in + 1) + 2;
    EVENT_SEND(IEC_104_WINDOW_SCENARIO, data_len, 0, data_in);                
    V_S++; ACK_k++;
}

void I_format(uint8_t *data_in)
{
/* Received/sent packet counter */
    uint16_t V_S_in = ((*(data_in + 4) >> 1) + (*(data_in + 5) << 7));
    uint16_t V_R_in = ((*(data_in + 2) >> 1) + (*(data_in + 3) << 7));

/*1*/
/* Type identification */
    uint8_t TI  = *(data_in + 6);
/*2*/
/* Structure Qualifier */
    uint8_t SQ  = readBit(*(data_in + 7), 7);
/* Number of objects/elements */
    uint8_t NOO = (*(data_in + 7)) & 0x7F;
/*3*/
/* Cause of transmission */
    uint8_t COT = (*(data_in + 8))&63;
    switch(COT)
    {
        case eIEC870_COT_ACT:
            COT = eIEC870_COT_ACT_CON;
        break;
        case eIEC870_COT_DEACT:
            COT = eIEC870_COT_DEACT_CON;
        break;
        default:
            COT = eIEC870_COT_UNKNOWN_CAUSE | 64;
        break;
    }
    uint8_t P_N = readBit((*(data_in + 8)), 6);
/*4*/
/* Originator Address*/
    uint8_t ORG = 0;
    if(mod_reg_03_IEC_COT_config_default == 9) ORG = (*(data_in + 9));
/*5*/ 
/* Common Address of ASDU 1 byte*/
    uint16_t COA = (*(data_in + mod_reg_03_IEC_COT_config_default + 1));
/*6*/
/* Common Address of ASDU 2 byte*/
    if(mod_reg_03_IEC_COA_config_default == 2) COA += (*(data_in + mod_reg_03_IEC_COT_config_default + 2) << 8);

    LOG_INF("TI = %d, SQ  = %d, NOO = %d, COT = %d, ORG = %d, COA = %d", TI, SQ, NOO, COT, ORG, COA);

    if(V_R == V_R_in && V_S == V_S_in)
    {
    /*wrong requrest*/
        if(COA != 1)                         wrong_data_in(data_in, eIEC870_COT_UNKNOWN_ASDU_ADDRESS, &TI);
        else
        if(COT == eIEC870_COT_UNKNOWN_CAUSE) wrong_data_in(data_in, eIEC870_COT_UNKNOWN_CAUSE,        &TI);
    /**/

        switch (TI)
        {
            case C_CS_NA_1: // 103
            {
                uint8_t data_len = *(data_in + 1) + 2;
                uint8_t data_out[data_len];

                IEC_CP56_to_real(data_in + 15);

                memcpy(data_out, data_in, data_len);

                data_out[2] = (V_S << 1);
                data_out[3] = (V_S >> 7);
                data_out[4] = (V_R << 1);
                data_out[5] = (V_R >> 7);
                data_out[8] = COT;
                EVENT_SEND(IEC_104_WINDOW_SCENARIO, data_len, 0, data_out);
                V_S++;
                ACK_k++;
            } 
            break;

            case C_IC_NA_1: // 100
            {
                uint8_t data_len = *(data_in + 1) + 2;
                uint8_t data_out[data_len];

                memcpy(data_out, data_in, data_len);

                data_out[2] = (V_S << 1);
                data_out[3] = (V_S >> 7);
                data_out[4] = (V_R << 1);
                data_out[5] = (V_R >> 7);
                data_out[8] = COT;
                EVENT_SEND(IEC_104_WINDOW_SCENARIO, data_len, 0, data_out);
                V_S++;
                IEC_ORG = ORG;
                ACK_k++;
                if(COT == eIEC870_COT_DEACT_CON) break;
                switch (*(data_in + 15))
                {
                    case 20:
                        IEC_position = 100;
                        // main INTERROGATION 
                    break;
                    case 21:
                        // group 1 INTERROGATION 
                    break;
                    case 22:
                        // group 2 INTERROGATION 
                    break;
                }
            } 
            break;
            default:
                wrong_data_in(data_in, eIEC870_COT_UNKNOWN_TYPE, &TI);
            break;
        }
        V_R++;
        ACK_w++;
    }
    else 
    {
        LOG_INF("Seq err. Disconnect");
        EVENT_SEND(EVENT_SYSTEM_SCENARIO, mess_x05_event_ETHERNET_DISCONNECT, 0, NULL);
    }
}

void S_format(uint8_t *data_in)
{
    uint16_t V_S_in = ((*(data_in + 4) >> 1) + (*(data_in + 5) << 7));
    LOG_INF("S_format %d ___ %d", V_S, V_S_in);
    if(V_S == V_S_in) {LOG_INF("ACNOLEDGE ok"); ACK_k = 0;}
    else LOG_INF("ACNOLEDGE err");
}

void U_format(uint8_t *data_in)
{
    LOG_INF("U_format");
    
    uint8_t com_bit_2 = readBit(*(data_in + 2), 2);
    uint8_t com_bit_4 = readBit(*(data_in + 2), 4);
    uint8_t com_bit_6 = readBit(*(data_in + 2), 6);

    uint8_t data_out[6] = {104, 4, 0, 0, 0, 0};
    
    if(com_bit_2) 
    {
        data_out[2] = 0x0B;
        V_S = 0; V_R = 0; IEC_position = 1;
        k_timer_start(&IEC_104_handler_timer,  K_MSEC(100), K_MSEC(100));
    }
    if(com_bit_4) 
    {
        data_out[2] = 0x23;
        V_S = 0; V_R = 0; IEC_position = 0;
        k_timer_stop(&IEC_104_handler_timer);
    }
    if(com_bit_6) data_out[2] = 0x83;

    EVENT_SEND(IEC_104_WINDOW_SCENARIO, 6, 0, data_out);
}

void IEC_104_parsing(uint8_t *data_in)
{
    if(*data_in != 104) return;
    
    if(readBit(*(data_in + 2), 0) == 0) I_format(data_in);
    else
    {
      if(readBit(*(data_in + 2), 1) == 0) S_format(data_in);
      else U_format(data_in);
    }
}

/*end IEC_104*/
```

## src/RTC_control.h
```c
#include <stdint.h>
#include <inttypes.h>
#include <stdbool.h>

#define rtc_read_try_count      65

void RealClockInit(int16_t *modbus_reg_04_, void *EVENT_SEND_);

void RTC_millis_get(int16_t *millis);

void RTC_success();

bool RTC_valid();
```

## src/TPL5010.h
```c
void TPL5010_init();
```

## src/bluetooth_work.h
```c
#ifndef BLUETOOTH_WORK_H__
#define BLUETOOTH_WORK_H__

#include <stdint.h>
#include <inttypes.h>

void BLE_init();
int bt_send_work(uint8_t *data_scenario, uint16_t length);

/*BLE device definitions*/
#define adv_param_interval_min          500
#define adv_param_interval_max          600

#endif
```

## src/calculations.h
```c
#ifndef CALCULATIONS_H__
#define CALCULATIONS_H__

#include <stdint.h>
#include <inttypes.h>

#define  readBit(value, num)                ((value >> num) & 1)
#define  bitSet(value, bit)                 ((value) |= (1UL << (bit)))
#define  bitClear(value, bit)               ((value) &= ~(1UL << (bit)))
#define  writebit(value, bit, bitvalue)     (bitvalue ? bitSet(value, bit) : bitClear(value, bit))


void CRC_CALC(uint8_t *msg, uint16_t counter, uint8_t *crc_result);

int16_t recalc_val(uint8_t i1, uint8_t i2, uint8_t i3, uint8_t i4, uint8_t i5);

int16_t SCALE_RECALC(int16_t i1, int16_t i2, int16_t i3);

void calculations_init(int16_t *modbus_reg_03_, int16_t *modbus_reg_04_);

void default_registers_set(int16_t *reg_03);

#endif
```
